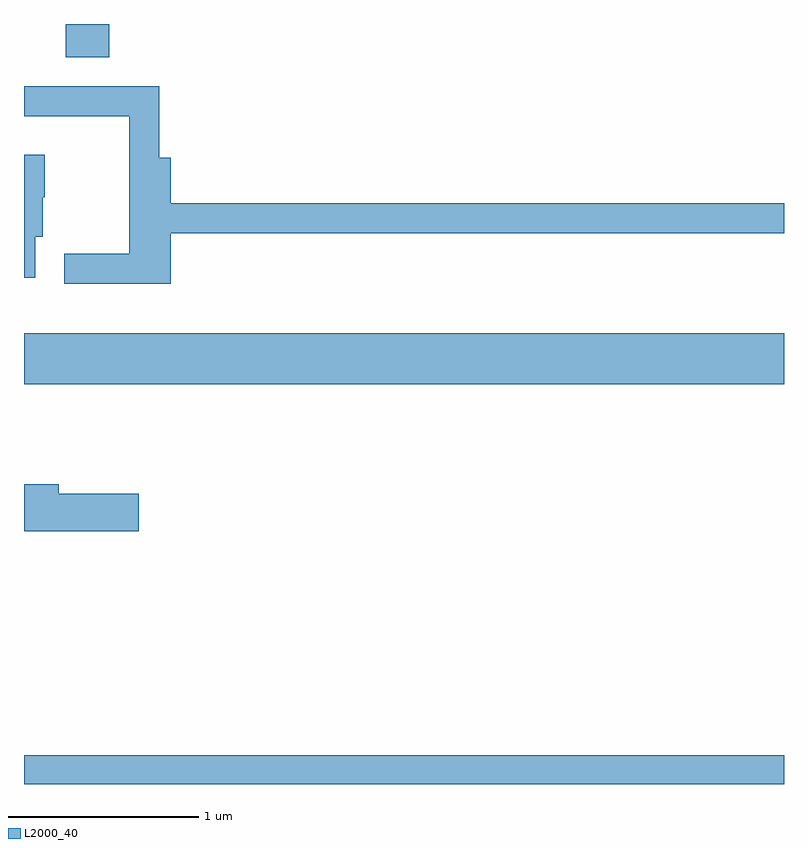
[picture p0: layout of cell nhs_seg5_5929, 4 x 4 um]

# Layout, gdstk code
import gdstk
lib = gdstk.Library(unit=1e-6, precision=1e-09)
def R(c, l, rs):  # rectangles x0, y0, x1, y1
    for r in rs: c.add(gdstk.rectangle(r[:2], r[2:], *l))
def P(c, l, *ps):  # polygons
    for p in ps: c.add(gdstk.Polygon(p, *l))
L2000_40 = (2000, 40)

nhs_seg5_5929 = lib.new_cell('nhs_seg5_5929')
R(nhs_seg5_5929, L2000_40, [(361.611,1408.072,365.611,1408.224), (361.611,1410.176,365.611,1410.444), (361.831,1411.896,362.059,1412.072)])
P(nhs_seg5_5929, L2000_40, [(362.384,1410.971),(365.611,1410.971),(365.611,1411.129),(362.384,1411.129),(362.384,1411.369),(362.324,1411.369),(362.324,1411.744),(361.611,1411.744),(361.611,1411.586),(362.166,1411.586),(362.166,1410.864),(361.823,1410.864),(361.823,1410.706),(362.384,1410.706)],
  [(361.669,1410.951),(361.709,1410.951),(361.709,1411.16),(361.719,1411.16),(361.719,1411.384),(361.611,1411.384),(361.611,1410.736),(361.669,1410.736)],
  [(362.214,1409.599),(361.794,1409.599),(361.794,1409.649),(361.611,1409.649),(361.611,1409.401),(362.214,1409.401)])

lib.write_gds('nhs_seg5_5929.gds')
